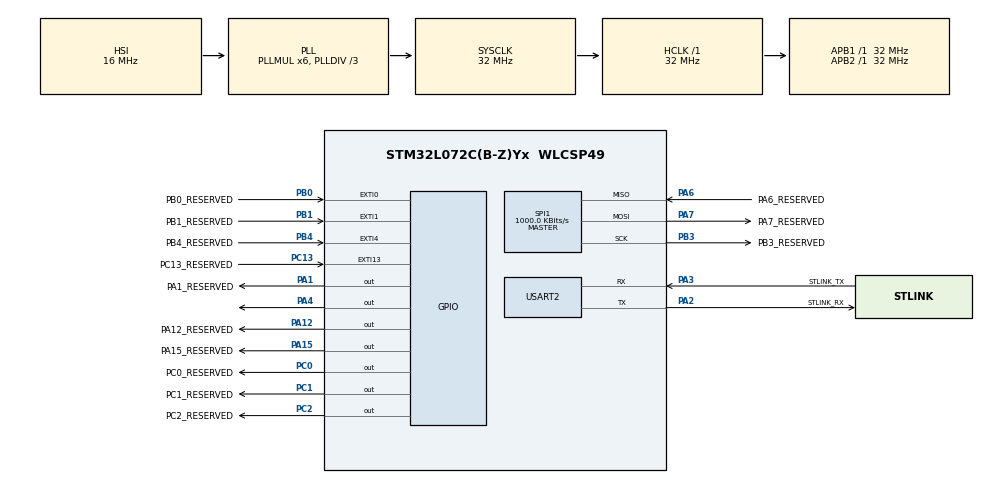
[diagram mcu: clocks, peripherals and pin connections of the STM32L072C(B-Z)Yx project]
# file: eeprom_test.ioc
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Mcu.Family=STM32L0
Mcu.Name=STM32L072C(B-Z)Yx
Mcu.Package=WLCSP49
NVIC.EXTI0_1_IRQn=true\:0\:0\:false\:false\:true\:true\:true\:true
NVIC.EXTI4_15_IRQn=true\:0\:0\:false\:false\:true\:true\:true\:true
NVIC.RTC_IRQn=true\:0\:0\:false\:false\:true\:true\:true\:true
NVIC.USART2_IRQn=true\:0\:0\:false\:false\:true\:true\:true\:true
PA1.GPIO_Label=PA1_RESERVED
PA1.GPIO_Speed=GPIO_SPEED_FREQ_HIGH
PA1.PinState=GPIO_PIN_RESET
PA1.Signal=GPIO_Output
PA12.GPIO_Label=PA12_RESERVED
PA12.GPIO_Speed=GPIO_SPEED_FREQ_HIGH
PA12.Signal=GPIO_Output
PA15.GPIO_Label=PA15_RESERVED
PA15.GPIO_Speed=GPIO_SPEED_FREQ_HIGH
PA15.Signal=GPIO_Output
PA2.GPIO_Label=STLINK_RX
PA2.Mode=Asynchronous
PA2.Signal=USART2_TX
PA3.GPIO_Label=STLINK_TX
PA3.Mode=Asynchronous
PA3.Signal=USART2_RX
PA4.Signal=GPIO_Output
PA6.GPIO_Label=PA6_RESERVED
PA6.Mode=Full_Duplex_Master
PA6.Signal=SPI1_MISO
PA7.GPIO_Label=PA7_RESERVED
PA7.Mode=Full_Duplex_Master
PA7.Signal=SPI1_MOSI
PB0.GPIO_Label=PB0_RESERVED
PB0.Signal=GPXTI0
PB1.GPIO_Label=PB1_RESERVED
PB1.Signal=GPXTI1
PB3.GPIO_Label=PB3_RESERVED
PB3.Mode=Full_Duplex_Master
PB3.Signal=SPI1_SCK
PB4.GPIO_Label=PB4_RESERVED
PB4.Signal=GPXTI4
PC0.GPIO_Label=PC0_RESERVED
PC0.GPIO_Speed=GPIO_SPEED_FREQ_HIGH
PC0.Signal=GPIO_Output
PC1.GPIO_Label=PC1_RESERVED
PC1.GPIO_Speed=GPIO_SPEED_FREQ_HIGH
PC1.Signal=GPIO_Output
PC13.GPIO_Label=PC13_RESERVED
PC13.Signal=GPXTI13
PC2.GPIO_Label=PC2_RESERVED
PC2.GPIO_Speed=GPIO_SPEED_FREQ_HIGH
PC2.Signal=GPIO_Output
PH0-OSC_IN.Signal=RCC_OSC_IN
PH1-OSC_OUT.Signal=RCC_OSC_OUT
ProjectManager.HeapSize=0x200
ProjectManager.StackSize=0x400
ProjectManager.TargetToolchain=STM32CubeIDE
RCC.AHBFreq_Value=32000000
RCC.APB1Freq_Value=32000000
RCC.APB1TimFreq_Value=32000000
RCC.APB2Freq_Value=32000000
RCC.APB2TimFreq_Value=32000000
RCC.HCLKFreq_Value=32000000
RCC.HSE_VALUE=8000000
RCC.HSI16_VALUE=16000000
RCC.HSI48_VALUE=48000000
RCC.HSI_VALUE=16000000
RCC.LSE_VALUE=32768
RCC.MSI_VALUE=2097000
RCC.PLLDIV=RCC_PLLDIV_3
RCC.PLLMUL=RCC_PLLMUL_6
RCC.SYSCLKFreq_VALUE=32000000
RCC.SYSCLKSource=RCC_SYSCLKSOURCE_PLLCLK
RCC.VCOOutputFreq_Value=96000000
RTC.Alarm-Alarm\ A=RTC_ALARM_A
RTC.AlarmSubSecondMask-Alarm\ A=RTC_ALARMSUBSECONDMASK_NONE
RTC.AsynchPrediv=31
RTC.Format=RTC_FORMAT_BIN
RTC.SynchPrediv=1023
SPI1.BaudRatePrescaler=SPI_BAUDRATEPRESCALER_32
SPI1.CalculateBaudRate=1000.0 KBits/s
SPI1.Direction=SPI_DIRECTION_2LINES
SPI1.Mode=SPI_MODE_MASTER
SPI1.VirtualType=VM_MASTER
USART2.VirtualMode-Asynchronous=VM_ASYNC
VP_RTC_VS_RTC_Activate.Mode=RTC_Enabled
VP_RTC_VS_RTC_Alarm_A_Intern.Mode=Alarm A
VP_RTC_VS_RTC_Calendar.Mode=RTC_Calendar
board=B-L072Z-LRWAN1

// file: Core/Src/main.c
/* USER CODE BEGIN Header */
/**
  ******************************************************************************
  * @file           : main.c
  * @brief          : Main program body
  ******************************************************************************
  * @attention
  *
  * Copyright (c) 2026 STMicroelectronics.
  * All rights reserved.
  *
  * This software is licensed under terms that can be found in the LICENSE file
  * in the root directory of this software component.
  * If no LICENSE file comes with this software, it is provided AS-IS.
  *
  ******************************************************************************
  */
/* USER CODE END Header */
#include "main.h"

/* USER CODE BEGIN Includes */
#include "stdio.h"
/* USER CODE END Includes */

RTC_HandleTypeDef hrtc;

SPI_HandleTypeDef hspi1;

UART_HandleTypeDef huart2;

void SystemClock_Config(void);
static void MX_GPIO_Init(void);
static void MX_RTC_Init(void);
static void MX_SPI1_Init(void);
static void MX_USART2_UART_Init(void);

/* USER CODE BEGIN 0 */
int _write(int file, char *ptr, int len){
	HAL_StatusTypeDef hstatus;
	hstatus = HAL_UART_Transmit(&huart2,(uint8_t *)ptr, len, HAL_MAX_DELAY);
	if(hstatus==HAL_OK)
		return len;
	else
		return -1;
}
/* USER CODE END 0 */

int main(void)
{

  /* MCU Configuration--------------------------------------------------------*/

  /* Reset of all peripherals, Initializes the Flash interface and the Systick. */
  HAL_Init();

  /* Configure the system clock */
  SystemClock_Config();

  /* Initialize all configured peripherals */
  MX_GPIO_Init();
  MX_RTC_Init();
  MX_SPI1_Init();
  MX_USART2_UART_Init();
  /* USER CODE BEGIN 2 */
//  printf("\nStaring EEPROM...");
//  if(HAL_FLASHEx_DATAEEPROM_Unlock()==HAL_OK)printf("\nEEPROM unlocked!");
//  else printf("\nFailed to unlock EEPROM!");
//  uint32_t address = 0x08080000;
//  uint32_t data = 12345;
//  printf("\nWriting to EEPROM...");
//  if(HAL_FLASHEx_DATAEEPROM_Program(FLASH_TYPEPROGRAMDATA_WORD, address, data)==HAL_OK){
//	  printf("\nSample writing success!");
//	  HAL_GPIO_TogglePin(GPIOA, GPIO_PIN_4);
//  }else{
//	  printf("\nSample writing failure!");
//
//  }
//  HAL_FLASHEx_DATAEEPROM_Lock();
//  printf("\nEEPROM writing ended!");
    if(HAL_FLASHEx_DATAEEPROM_Unlock()==HAL_OK)printf("\nEEPROM unlocked!");
    else printf("\nFailed to unlock EEPROM!");
  	uint32_t address = 0x08080000;
  	uint32_t data = 500;

  	while(data<=510){
  		HAL_FLASHEx_DATAEEPROM_Program(FLASH_TYPEPROGRAMDATA_WORD, address,data);
  		data+=1;
  		address+=sizeof(uint32_t);
  	}
  	printf("\nWriting successfull!");
  	  HAL_FLASHEx_DATAEEPROM_Lock();

  /* USER CODE END 2 */

  /* Infinite loop */
  while (1)
  {

  }
}

void SystemClock_Config(void)
{
  RCC_OscInitTypeDef RCC_OscInitStruct = {0};
  RCC_ClkInitTypeDef RCC_ClkInitStruct = {0};
  RCC_PeriphCLKInitTypeDef PeriphClkInit = {0};

  /** Configure the main internal regulator output voltage
  */
  __HAL_PWR_VOLTAGESCALING_CONFIG(PWR_REGULATOR_VOLTAGE_SCALE1);

  /** Initializes the RCC Oscillators according to the specified parameters
  * in the RCC_OscInitTypeDef structure.
  */
  RCC_OscInitStruct.OscillatorType = RCC_OSCILLATORTYPE_HSI|RCC_OSCILLATORTYPE_LSI;
  RCC_OscInitStruct.HSIState = RCC_HSI_ON;
  RCC_OscInitStruct.HSICalibrationValue = RCC_HSICALIBRATION_DEFAULT;
  RCC_OscInitStruct.LSIState = RCC_LSI_ON;
  RCC_OscInitStruct.PLL.PLLState = RCC_PLL_ON;
  RCC_OscInitStruct.PLL.PLLSource = RCC_PLLSOURCE_HSI;
  RCC_OscInitStruct.PLL.PLLMUL = RCC_PLLMUL_6;
  RCC_OscInitStruct.PLL.PLLDIV = RCC_PLLDIV_3;
  if (HAL_RCC_OscConfig(&RCC_OscInitStruct) != HAL_OK)
  {
    Error_Handler();
  }

  /** Initializes the CPU, AHB and APB buses clocks
  */
  RCC_ClkInitStruct.ClockType = RCC_CLOCKTYPE_HCLK|RCC_CLOCKTYPE_SYSCLK
                              |RCC_CLOCKTYPE_PCLK1|RCC_CLOCKTYPE_PCLK2;
  RCC_ClkInitStruct.SYSCLKSource = RCC_SYSCLKSOURCE_PLLCLK;
  RCC_ClkInitStruct.AHBCLKDivider = RCC_SYSCLK_DIV1;
  RCC_ClkInitStruct.APB1CLKDivider = RCC_HCLK_DIV1;
  RCC_ClkInitStruct.APB2CLKDivider = RCC_HCLK_DIV1;

  if (HAL_RCC_ClockConfig(&RCC_ClkInitStruct, FLASH_LATENCY_1) != HAL_OK)
  {
    Error_Handler();
  }
  PeriphClkInit.PeriphClockSelection = RCC_PERIPHCLK_USART2|RCC_PERIPHCLK_RTC;
  PeriphClkInit.Usart2ClockSelection = RCC_USART2CLKSOURCE_PCLK1;
  PeriphClkInit.RTCClockSelection = RCC_RTCCLKSOURCE_LSI;
  if (HAL_RCCEx_PeriphCLKConfig(&PeriphClkInit) != HAL_OK)
  {
    Error_Handler();
  }
}

static void MX_RTC_Init(void)
{

  RTC_TimeTypeDef sTime = {0};
  RTC_DateTypeDef sDate = {0};
  RTC_AlarmTypeDef sAlarm = {0};

  /** Initialize RTC Only
  */
  hrtc.Instance = RTC;
  hrtc.Init.HourFormat = RTC_HOURFORMAT_24;
  hrtc.Init.AsynchPrediv = 31;
  hrtc.Init.SynchPrediv = 1023;
  hrtc.Init.OutPut = RTC_OUTPUT_DISABLE;
  hrtc.Init.OutPutRemap = RTC_OUTPUT_REMAP_NONE;
  hrtc.Init.OutPutPolarity = RTC_OUTPUT_POLARITY_HIGH;
  hrtc.Init.OutPutType = RTC_OUTPUT_TYPE_OPENDRAIN;
  if (HAL_RTC_Init(&hrtc) != HAL_OK)
  {
    Error_Handler();
  }

  /** Initialize RTC and set the Time and Date
  */
  sTime.Hours = 0;
  sTime.Minutes = 0;
  sTime.Seconds = 0;
  sTime.DayLightSaving = RTC_DAYLIGHTSAVING_NONE;
  sTime.StoreOperation = RTC_STOREOPERATION_RESET;
  if (HAL_RTC_SetTime(&hrtc, &sTime, RTC_FORMAT_BIN) != HAL_OK)
  {
    Error_Handler();
  }
  sDate.WeekDay = RTC_WEEKDAY_MONDAY;
  sDate.Month = RTC_MONTH_JANUARY;
  sDate.Date = 1;
  sDate.Year = 0;

  if (HAL_RTC_SetDate(&hrtc, &sDate, RTC_FORMAT_BIN) != HAL_OK)
  {
    Error_Handler();
  }

  /** Enable the Alarm A
  */
  sAlarm.AlarmTime.Hours = 0;
  sAlarm.AlarmTime.Minutes = 0;
  sAlarm.AlarmTime.Seconds = 0;
  sAlarm.AlarmTime.SubSeconds = 0;
  sAlarm.AlarmTime.DayLightSaving = RTC_DAYLIGHTSAVING_NONE;
  sAlarm.AlarmTime.StoreOperation = RTC_STOREOPERATION_RESET;
  sAlarm.AlarmMask = RTC_ALARMMASK_NONE;
  sAlarm.AlarmSubSecondMask = RTC_ALARMSUBSECONDMASK_NONE;
  sAlarm.AlarmDateWeekDaySel = RTC_ALARMDATEWEEKDAYSEL_DATE;
  sAlarm.AlarmDateWeekDay = 1;
  sAlarm.Alarm = RTC_ALARM_A;
  if (HAL_RTC_SetAlarm_IT(&hrtc, &sAlarm, RTC_FORMAT_BIN) != HAL_OK)
  {
    Error_Handler();
  }

}

static void MX_SPI1_Init(void)
{

  /* SPI1 parameter configuration*/
  hspi1.Instance = SPI1;
  hspi1.Init.Mode = SPI_MODE_MASTER;
  hspi1.Init.Direction = SPI_DIRECTION_2LINES;
  hspi1.Init.DataSize = SPI_DATASIZE_8BIT;
  hspi1.Init.CLKPolarity = SPI_POLARITY_LOW;
  hspi1.Init.CLKPhase = SPI_PHASE_1EDGE;
  hspi1.Init.NSS = SPI_NSS_SOFT;
  hspi1.Init.BaudRatePrescaler = SPI_BAUDRATEPRESCALER_32;
  hspi1.Init.FirstBit = SPI_FIRSTBIT_MSB;
  hspi1.Init.TIMode = SPI_TIMODE_DISABLE;
  hspi1.Init.CRCCalculation = SPI_CRCCALCULATION_DISABLE;
  hspi1.Init.CRCPolynomial = 7;
  if (HAL_SPI_Init(&hspi1) != HAL_OK)
  {
    Error_Handler();
  }

}

static void MX_USART2_UART_Init(void)
{

  huart2.Instance = USART2;
  huart2.Init.BaudRate = 115200;
  huart2.Init.WordLength = UART_WORDLENGTH_8B;
  huart2.Init.StopBits = UART_STOPBITS_1;
  huart2.Init.Parity = UART_PARITY_NONE;
  huart2.Init.Mode = UART_MODE_TX_RX;
  huart2.Init.HwFlowCtl = UART_HWCONTROL_NONE;
  huart2.Init.OverSampling = UART_OVERSAMPLING_16;
  huart2.Init.OneBitSampling = UART_ONE_BIT_SAMPLE_DISABLE;
  huart2.AdvancedInit.AdvFeatureInit = UART_ADVFEATURE_NO_INIT;
  if (HAL_UART_Init(&huart2) != HAL_OK)
  {
    Error_Handler();
  }

}

static void MX_GPIO_Init(void)
{
  GPIO_InitTypeDef GPIO_InitStruct = {0};

  /* GPIO Ports Clock Enable */
  __HAL_RCC_GPIOA_CLK_ENABLE();
  __HAL_RCC_GPIOB_CLK_ENABLE();
  __HAL_RCC_GPIOC_CLK_ENABLE();
  __HAL_RCC_GPIOH_CLK_ENABLE();

  /*Configure GPIO pin Output Level */
  HAL_GPIO_WritePin(GPIOA, PA15_RESERVED_Pin|PA12_RESERVED_Pin|PA1_RESERVED_Pin|GPIO_PIN_4, GPIO_PIN_RESET);

  /*Configure GPIO pin Output Level */
  HAL_GPIO_WritePin(GPIOC, PC1_RESERVED_Pin|PC0_RESERVED_Pin|PC2_RESERVED_Pin, GPIO_PIN_RESET);

  /*Configure GPIO pins : PA15_RESERVED_Pin PA12_RESERVED_Pin PA1_RESERVED_Pin */
  GPIO_InitStruct.Pin = PA15_RESERVED_Pin|PA12_RESERVED_Pin|PA1_RESERVED_Pin;
  GPIO_InitStruct.Mode = GPIO_MODE_OUTPUT_PP;
  GPIO_InitStruct.Pull = GPIO_NOPULL;
  GPIO_InitStruct.Speed = GPIO_SPEED_FREQ_HIGH;
  HAL_GPIO_Init(GPIOA, &GPIO_InitStruct);

  /*Configure GPIO pins : PB4_RESERVED_Pin PB1_RESERVED_Pin PB0_RESERVED_Pin */
  GPIO_InitStruct.Pin = PB4_RESERVED_Pin|PB1_RESERVED_Pin|PB0_RESERVED_Pin;
  GPIO_InitStruct.Mode = GPIO_MODE_IT_RISING;
  GPIO_InitStruct.Pull = GPIO_NOPULL;
  HAL_GPIO_Init(GPIOB, &GPIO_InitStruct);

  /*Configure GPIO pin : PC13_RESERVED_Pin */
  GPIO_InitStruct.Pin = PC13_RESERVED_Pin;
  GPIO_InitStruct.Mode = GPIO_MODE_IT_RISING;
  GPIO_InitStruct.Pull = GPIO_NOPULL;
  HAL_GPIO_Init(PC13_RESERVED_GPIO_Port, &GPIO_InitStruct);

  /*Configure GPIO pins : PC1_RESERVED_Pin PC0_RESERVED_Pin PC2_RESERVED_Pin */
  GPIO_InitStruct.Pin = PC1_RESERVED_Pin|PC0_RESERVED_Pin|PC2_RESERVED_Pin;
  GPIO_InitStruct.Mode = GPIO_MODE_OUTPUT_PP;
  GPIO_InitStruct.Pull = GPIO_NOPULL;
  GPIO_InitStruct.Speed = GPIO_SPEED_FREQ_HIGH;
  HAL_GPIO_Init(GPIOC, &GPIO_InitStruct);

  /*Configure GPIO pin : PA4 */
  GPIO_InitStruct.Pin = GPIO_PIN_4;
  GPIO_InitStruct.Mode = GPIO_MODE_OUTPUT_PP;
  GPIO_InitStruct.Pull = GPIO_NOPULL;
  GPIO_InitStruct.Speed = GPIO_SPEED_FREQ_LOW;
  HAL_GPIO_Init(GPIOA, &GPIO_InitStruct);

  /* EXTI interrupt init*/
  HAL_NVIC_SetPriority(EXTI0_1_IRQn, 0, 0);
  HAL_NVIC_EnableIRQ(EXTI0_1_IRQn);

  HAL_NVIC_SetPriority(EXTI4_15_IRQn, 0, 0);
  HAL_NVIC_EnableIRQ(EXTI4_15_IRQn);

}

void Error_Handler(void)
{
  __disable_irq();
  while (1)
  {
  }
}
